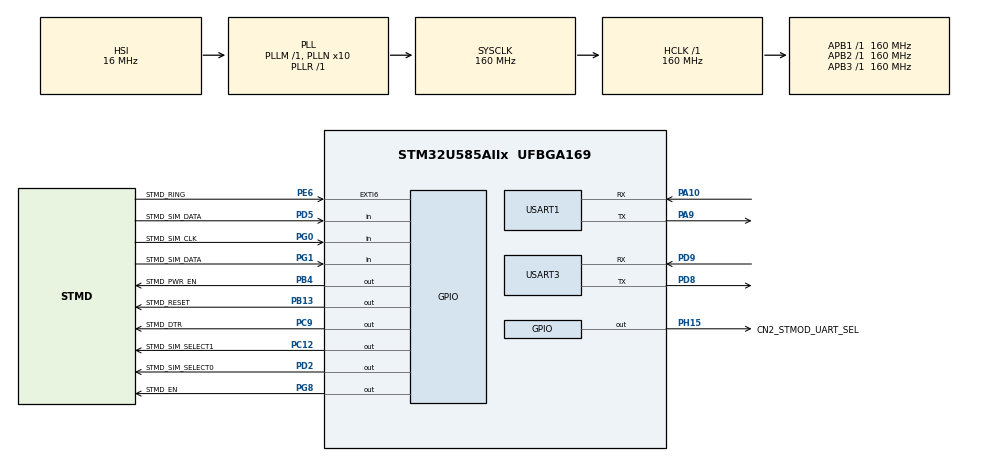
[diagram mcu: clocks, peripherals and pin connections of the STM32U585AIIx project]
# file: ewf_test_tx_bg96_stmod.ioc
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CORTEX_M33_NS.userName=CORTEX_M33
Mcu.Family=STM32U5
Mcu.Name=STM32U585AIIx
Mcu.Package=UFBGA169
NVIC.EXTI6_IRQn=true\:5\:0\:true\:false\:true\:false\:true\:true\:true
NVIC.PriorityGroup=NVIC_PRIORITYGROUP_4
NVIC.TIM3_IRQn=true\:15\:0\:false\:false\:true\:false\:false\:true\:true
NVIC.TimeBase=TIM3_IRQn
NVIC.TimeBaseIP=TIM3
NVIC.USART1_IRQn=true\:0\:0\:false\:false\:true\:false\:true\:true\:true
NVIC.USART3_IRQn=true\:0\:0\:false\:false\:true\:false\:true\:true\:true
PA10.Mode=Asynchronous
PA10.Signal=USART1_RX
PA13\ (JTMS/SWDIO).Mode=Trace_Asynchronous_SW
PA13\ (JTMS/SWDIO).Signal=DEBUG_JTMS-SWDIO
PA14\ (JTCK/SWCLK).Mode=Trace_Asynchronous_SW
PA14\ (JTCK/SWCLK).Signal=DEBUG_JTCK-SWCLK
PA9.Mode=Asynchronous
PA9.Signal=USART1_TX
PB13.GPIO_Label=STMD_RESET
PB13.PinState=GPIO_PIN_SET
PB13.Signal=GPIO_Output
PB3\ (JTDO/TRACESWO).Mode=Trace_Asynchronous_SW
PB3\ (JTDO/TRACESWO).Signal=DEBUG_JTDO-SWO
PB4\ (NJTRST).GPIO_Label=STMD_PWR_EN
PB4\ (NJTRST).PinState=GPIO_PIN_SET
PB4\ (NJTRST).Signal=GPIO_Output
PC12.GPIO_Label=STMD_SIM_SELECT1
PC12.Signal=GPIO_Output
PC9.GPIO_Label=STMD_DTR
PC9.Signal=GPIO_Output
PD11.Signal=USART3_CTS
PD12.Signal=USART3_RTS
PD2.GPIO_Label=STMD_SIM_SELECT0
PD2.Signal=GPIO_Output
PD5.GPIO_Label=STMD_SIM_DATA
PD5.Signal=GPIO_Input
PD8.Mode=Asynchronous
PD8.Signal=USART3_TX
PD9.Mode=Asynchronous
PD9.Signal=USART3_RX
PE6.GPIO_Label=STMD_RING
PE6.Signal=GPXTI6
PG0.GPIO_Label=STMD_SIM_CLK
PG0.Signal=GPIO_Input
PG1.GPIO_Label=STMD_SIM_DATA
PG1.Signal=GPIO_Input
PG8.GPIO_Label=STMD_EN
PG8.Signal=GPIO_Output
PH15.GPIO_Label=CN2_STMOD_UART_SEL
PH15.PinState=GPIO_PIN_SET
PH15.Signal=GPIO_Output
PWR.PowerMode=PWR_SMPS_SUPPLY
ProjectManager.HeapSize=0x200
ProjectManager.StackSize=0x400
ProjectManager.TargetToolchain=STM32CubeIDE
RCC.ADCFreq_Value=16000000
RCC.AHBFreq_Value=160000000
RCC.APB1Freq_Value=160000000
RCC.APB1TimFreq_Value=160000000
RCC.APB2Freq_Value=160000000
RCC.APB2TimFreq_Value=160000000
RCC.APB3Freq_Value=160000000
RCC.CortexFreq_Value=160000000
RCC.DACCLockSelectionVirtual=RCC_DAC1CLKSOURCE_LSI
RCC.EPOD_VALUE=16000000
RCC.HCLKFreq_Value=160000000
RCC.HSE_VALUE=16000000
RCC.HSI48_VALUE=48000000
RCC.HSI_VALUE=16000000
RCC.LSE_VALUE=32768
RCC.LSIDIV_VALUE=32000
RCC.MSIClockRange=RCC_MSIRANGE_0
RCC.MSI_VALUE=48000000
RCC.PLL1R=1
RCC.PLLN=10
RCC.PLLSourceVirtual=RCC_PLLSOURCE_HSI
RCC.SPI2CLockSelection=RCC_SPI2CLKSOURCE_PCLK1
RCC.SYSCLKFreq_VALUE=160000000
RCC.SYSCLKSource=RCC_SYSCLKSOURCE_PLLCLK
RCC.USBFreq_Value=48000000
RCC.VCOOutputFreq_Value=160000000
THREADX.AZRTOS_APP_MEM_ALLOCATION_METHOD=1
THREADX.TX_APP_MEM_POOL_SIZE=(512*1)
USART1.VirtualMode-Asynchronous=VM_ASYNC
USART3.VirtualMode-Asynchronous=VM_ASYNC
VP_ICACHE_VS_ICACHE.Mode=DirectMappedCache
VP_LPBAMQUEUE_VS_QUEUE.Mode=QUEUEMODE
VP_LPBAM_VS_SIG1.Mode=SmartRun
VP_LPBAM_VS_SIG4.Mode=LPDMA1
VP_MEMORYMAP_VS_MEMORYMAP.Mode=CurAppReg
VP_PWR_VS_DBSignals.Mode=DisableDeadBatterySignals
VP_PWR_VS_LPOM.Mode=PowerOptimisation
VP_PWR_VS_SECSignals.Mode=Security/Privilege
VP_SYS_VS_tim3.Mode=TIM3
VP_THREADX_VS_RTOSJjThreadXJjCoreJjDefault.Mode=Core_Default
board=custom

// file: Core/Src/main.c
/* USER CODE BEGIN Header */
/**
  ******************************************************************************
  * @file           : main.c
  * @brief          : Main program body
  ******************************************************************************
  * @attention
  *
  * Copyright (c) 2022 STMicroelectronics.
  * All rights reserved.
  *
  * This software is licensed under terms that can be found in the LICENSE file
  * in the root directory of this software component.
  * If no LICENSE file comes with this software, it is provided AS-IS.
  *
  ******************************************************************************
  */
/* USER CODE END Header */
#include "app_threadx.h"
#include "main.h"

/* USER CODE BEGIN Includes */

#include <stdlib.h>

#include "stm32u5xx_hal.h"
#include "stm32u5xx_ll_bus.h"
#include "stm32u5xx_ll_rcc.h"
#include "stm32u5xx_ll_system.h"
#include "stm32u5xx_ll_utils.h"
#include "stm32u5xx_ll_pwr.h"
#include "stm32u5xx_ll_exti.h"
#include "stm32u5xx_ll_gpio.h"
#include "stm32u5xx_ll_usart.h"

#define QUECTEL_BG96 		1
#define RENESAS_RYZ024A 	2
#define SIERRA_HL78XX       3

#define MODEM_TYPE SIERRA_HL78XX

#include "ewf_lib.c"
#include "ewf_platform_threadx.c"
#include "ewf_allocator.c"
#include "ewf_allocator_threadx.c"
#include "ewf_tokenizer.c"
#include "ewf_tokenizer_basic.c"
#include "ewf_interface.c"
#include "ewf_interface_stm32_uart.c"
#include "ewf_adapter.c"
#include "ewf_adapter_api_control.c"
#include "ewf_adapter_api_info.c"
#include "ewf_adapter_api_tls_basic.c"
#include "ewf_adapter_api_mqtt_basic.c"
#include "ewf_adapter_api_tcp.c"
#include "ewf_adapter_api_udp.c"
#include "ewf_adapter_api_modem.c"
#include "ewf_adapter_api_modem_general.c"
#include "ewf_adapter_api_modem_network_service.c"
#include "ewf_adapter_api_modem_packet_domain.c"
#include "ewf_adapter_api_modem_sim_utility.c"
#include "ewf_adapter_api_modem_sms.c"
#if(MODEM_TYPE == QUECTEL_BG96)
# include "ewf_adapter_quectel_bg96.c"
# include "ewf_adapter_quectel_common_tokenizer.c"
# include "ewf_adapter_quectel_common_urc.c"
# include "ewf_adapter_quectel_common_control.c"
# include "ewf_adapter_quectel_common_context.c"
# include "ewf_adapter_quectel_common_info.c"
# include "ewf_adapter_quectel_common_internet.c"
# include "ewf_adapter_quectel_common_ufs.c"
# include "ewf_adapter_quectel_common_mqtt_basic.c"
# include "ewf_adapter_quectel_common_tls_basic.c"
# include "test/ewf_adapter_quectel_bg96_test.c"
#endif

#if(MODEM_TYPE == RENESAS_RYZ024A)
# include "ewf_adapter_renesas_ryz024a.c"
# include "ewf_adapter_renesas_common_tokenizer.c"
# include "ewf_adapter_renesas_common_urc.c"
# include "ewf_adapter_renesas_common_control.c"
//# include "ewf_adapter_renesas_common_context.c"
# include "ewf_adapter_renesas_common_info.c"
# include "ewf_adapter_renesas_common_internet.c"
//# include "ewf_adapter_renesas_common_ufs.c"
# include "ewf_adapter_renesas_common_mqtt_basic.c"
# include "ewf_adapter_renesas_common_tls_basic.c"
#endif

#if(MODEM_TYPE == SIERRA_HL78XX)
# include "ewf_adapter_sierra_hl78xx.c"
# include "ewf_adapter_sierra_common_tokenizer.c"
# include "ewf_adapter_sierra_common_urc.c"
# include "ewf_adapter_sierra_common_control.c"
//# include "ewf_adapter_renesas_common_context.c"
# include "ewf_adapter_sierra_common_info.c"
# include "ewf_adapter_sierra_common_internet.c"
//# include "ewf_adapter_renesas_common_ufs.c"
# include "ewf_adapter_sierra_common_mqtt_basic.c"
# include "ewf_adapter_sierra_common_tls_basic.c"

#endif

#include "ewf_example.config.h"

/* USER CODE END Includes */

/* USER CODE BEGIN PTD */
#if defined ( __GNUC__) && !defined(__clang__)
/* With GCC, small printf (option LD Linker->Libraries->Small printf
   set to 'Yes') calls __io_putchar() */
#define PUTCHAR_PROTOTYPE int __io_putchar(int ch)
#else
#define PUTCHAR_PROTOTYPE int fputc(int ch, FILE *f)
#endif /* __GNUC__ */

/* USER CODE END PTD */

UART_HandleTypeDef huart1;
UART_HandleTypeDef huart3;

void SystemClock_Config(void);
static void SystemPower_Config(void);
static void MX_GPIO_Init(void);
static void MX_ICACHE_Init(void);
static void MX_USART3_UART_Init(void);
static void MX_USART1_UART_Init(void);

/* USER CODE BEGIN 0 */

/* Define the thread for running Azure SDK on ThreadX (THREADX IoT Platform).  */
#ifndef SAMPLE_STACK_SIZE
#define SAMPLE_STACK_SIZE      (2048)
#endif /* SAMPLE_STACK_SIZE  */

#ifndef SAMPLE_THREAD_PRIORITY
#define SAMPLE_THREAD_PRIORITY (4)
#endif /* SAMPLE_THREAD_PRIORITY  */

/* The thread control block  */
static TX_THREAD  sample_thread;

/* Define the thread stack.  */
static ULONG sample_thread_stack[SAMPLE_STACK_SIZE / sizeof(ULONG)];

/* The EWF NetX Duo PPP test.  */
ewf_result ewf_example_netx_duo_ppp_test(ewf_adapter* adapter_ptr);

void ewf_quectel_bg96_power_on()
{
	/* Reference: Quectel BG96 Hardware Design V1.4 */
	HAL_GPIO_WritePin(STMD_RESET_GPIO_Port, STMD_RESET_Pin, GPIO_PIN_SET); // bahmed GPIO_PIN_RESET
	HAL_GPIO_WritePin(STMD_PWR_EN_GPIO_Port, STMD_PWR_EN_Pin, GPIO_PIN_RESET);
	HAL_GPIO_WritePin(STMD_DTR_GPIO_Port, STMD_DTR_Pin, GPIO_PIN_RESET);

	/* Turn OFF the module, in case of error in previous power cycle
	 * Set the STMD_PWR_EN_Pin to at least 650ms */
	HAL_GPIO_WritePin(STMD_PWR_EN_GPIO_Port, STMD_PWR_EN_Pin, GPIO_PIN_SET);
	tx_thread_sleep(70U);
	HAL_GPIO_WritePin(STMD_PWR_EN_GPIO_Port, STMD_PWR_EN_Pin, GPIO_PIN_RESET);
	tx_thread_sleep(100U);

	/* Power ON sequence */
	/* Set STMD_PWR_EN_Pin to 1 (initial state) */
	HAL_GPIO_WritePin(STMD_PWR_EN_GPIO_Port, STMD_PWR_EN_Pin, GPIO_PIN_SET);
	tx_thread_sleep(5);

	/* Set STMD_PWR_EN_Pin to 0 during at least 30ms */
	HAL_GPIO_WritePin(STMD_PWR_EN_GPIO_Port, STMD_PWR_EN_Pin, GPIO_PIN_RESET);
	tx_thread_sleep(4);

	/* Set STMD_PWR_EN_Pin to 1 during at least 500ms */
	HAL_GPIO_WritePin(STMD_PWR_EN_GPIO_Port, STMD_PWR_EN_Pin, GPIO_PIN_SET);
	tx_thread_sleep(65U);

	/* Set STMD_PWR_EN_Pin to 0 */
	HAL_GPIO_WritePin(STMD_PWR_EN_GPIO_Port, STMD_PWR_EN_Pin, GPIO_PIN_RESET);

	HAL_GPIO_WritePin(STMD_EN_GPIO_Port, STMD_EN_Pin, GPIO_PIN_SET);

	/* wait for the modem to be in ready state  */
	printf("Waiting for the modem to be ready after power ON\n");
	tx_thread_sleep(TX_TIMER_TICKS_PER_SECOND * 10);
	printf("Modem Ready!!!\n");

	/* set DTR to 1 */
	HAL_GPIO_WritePin(STMD_DTR_GPIO_Port, STMD_DTR_Pin, GPIO_PIN_SET);

	/* Initialize UART3 */
	MX_USART3_UART_Init();
}

void sample_thread_entry(ULONG parameter)
{
    ewf_result result;

    ewf_allocator* message_allocator_ptr = NULL;
    ewf_interface* interface_ptr = NULL;
    ewf_adapter* adapter_ptr = NULL;

    EWF_ALLOCATOR_THREADX_STATIC_DECLARE(message_allocator_ptr, message_allocator,
        EWF_CONFIG_MESSAGE_ALLOCATOR_BLOCK_COUNT,
        EWF_CONFIG_MESSAGE_ALLOCATOR_BLOCK_SIZE);

    EWF_ALLOCATOR_THREADX_STATIC_DECLARE(message_allocator_ptr, message_allocator,
        EWF_CONFIG_MESSAGE_ALLOCATOR_BLOCK_COUNT,
        EWF_CONFIG_MESSAGE_ALLOCATOR_BLOCK_SIZE);
    EWF_INTERFACE_STM32_UART_STATIC_DECLARE(interface_ptr, stm32_uart_port, &huart3);
#if(MODEM_TYPE == RENESAS_RYZ024A)
    EWF_ADAPTER_RENESAS_RYZ024A_STATIC_DECLARE(adapter_ptr, renesas_ryz024a, message_allocator_ptr, NULL, interface_ptr);
#endif

#if(MODEM_TYPE == SIERRA_HL78XX)
    EWF_ADAPTER_SIERRA_HL78XX_STATIC_DECLARE(adapter_ptr, sierra_hl78xx, message_allocator_ptr, NULL, interface_ptr);
#endif

	/* Power on the STMOD+ BG96 modem */
    ewf_quectel_bg96_power_on();

    // Start the adapter
    if (ewf_result_failed(result = ewf_adapter_start(adapter_ptr)))
    {
        EWF_LOG_ERROR("Failed to start the adapter, ewf_result %d.\n", result);
        exit(result);
    }
    else
    {
        EWF_LOG("Adapter Start.\n");
    }

    for(int i=0; i <20; i++)
    {
		// Set the ME functionality to minimum to clear out any previous connections
		if (ewf_result_failed(result = ewf_adapter_modem_functionality_set(adapter_ptr, EWF_ADAPTER_MODEM_FUNCTIONALITY_MINIMUM)))
		{
			EWF_LOG("[Warning][Failed to the ME functionality]\n");
		}
		else
		{
			EWF_LOG("Modem functionality set to EWF_ADAPTER_MODEM_FUNCTIONALITY_MINIMUM\n");
		}

		// Set the APN
		/*
		if (ewf_result_failed(result = ewf_adapter_modem_pdp_apn_set(adapter_ptr, EWF_CONFIG_CONTEXT_ID, EWF_ADAPTER_MODEM_PDP_TYPE_IP, EWF_CONFIG_SIM_APN)))
		{
			EWF_LOG_ERROR("Failed to the set APN, ewf_result %d.\n", result);
			exit(result);
		}
		else
		{
			EWF_LOG("APN Set to %s\n", EWF_CONFIG_SIM_APN);
		}*/

		// Set the ME functionality
		if (ewf_result_failed(result = ewf_adapter_modem_functionality_set(adapter_ptr, EWF_ADAPTER_MODEM_FUNCTIONALITY_FULL)))
		{
			EWF_LOG_ERROR("Failed to the ME functionality, ewf_result %d.\n", result);
			return;
		}
		else
		{
			EWF_LOG("Modem functionality set to EWF_ADAPTER_MODEM_FUNCTIONALITY_FULL\n");
		}

		/* Wait time for modem to be ready after modem is registered to network */
		ewf_platform_sleep(200);

		// Set the SIM PIN
		if (0) //ewf_result_failed(result = ewf_adapter_modem_sim_pin_enter(adapter_ptr, EWF_CONFIG_SIM_PIN))) bahmed
		{
			EWF_LOG_ERROR("Failed to the SIM PIN, ewf_result %d.\n", result);
			exit(result);
		}
		else
		{
			EWF_LOG("SIM PIN Set.\n");
		}

		if (ewf_result_failed(result = ewf_adapter_modem_network_registration_check(adapter_ptr, EWF_ADAPTER_MODEM_CMD_QUERY_EPS_NETWORK_REG, 1000)))
		{
			EWF_LOG("[ERROR][Failed to register to network.]\n");
			return;
		}
		else
		{
			EWF_LOG("Registered to network.\n");
		}

		// Call the NetX Duo test example
		if (ewf_result_failed(result = ewf_example_netx_duo_ppp_test(adapter_ptr)))
		{
			EWF_LOG_ERROR("The NetX Duo test example failed, ewf_result %d.\n", result);
			exit(result);
		}
			else
		{
			EWF_LOG("The NetX Duo test example passed.\n");
		}
		ewf_platform_sleep(EWF_PLATFORM_TICKS_PER_SECOND*10);
    }

    EWF_LOG("\nDone!\n");

    /* Stay here forever.  */
    while (1)
    {
        EWF_LOG(".");
        ewf_platform_sleep(EWF_PLATFORM_TICKS_PER_SECOND);
    }
}

void thread_sample_entry(ULONG thread_input)
{
#if(MODEM_TYPE == QUECTEL_BG96)
    ewf_result result;

    ewf_allocator* message_allocator_ptr = NULL;
    ewf_interface* interface_ptr = NULL;
    ewf_adapter* adapter_ptr = NULL;

    EWF_ALLOCATOR_THREADX_STATIC_DECLARE(message_allocator_ptr, message_allocator,
        EWF_CONFIG_MESSAGE_ALLOCATOR_BLOCK_COUNT,
        EWF_CONFIG_MESSAGE_ALLOCATOR_BLOCK_SIZE);
    EWF_INTERFACE_STM32_UART_STATIC_DECLARE(interface_ptr, stm32_uart_port, &huart3);
    EWF_ADAPTER_QUECTEL_BG96_STATIC_DECLARE(adapter_ptr, quectel_bg96, message_allocator_ptr, NULL, interface_ptr);

	/* Power on the STMOD+ BG96 modem */
    ewf_quectel_bg96_power_on();

    /* Start the adapter.  */
    if (ewf_result_failed(result = ewf_adapter_start(adapter_ptr)))
    {
        EWF_LOG_ERROR("Failed to start the adapter, ewf_result %d.\n", result);
        exit(result);
    }

    // Set the SIM PIN
    if (ewf_result_failed(result = ewf_adapter_modem_sim_pin_enter(adapter_ptr, EWF_CONFIG_SIM_PIN)))
    {
        EWF_LOG_ERROR("Failed to the SIM PIN, ewf_result %d.\n", result);
        exit(result);
    }

    // Set the ME functionality
    if (ewf_result_failed(result = ewf_adapter_modem_functionality_set(adapter_ptr, "1")))
    {
        EWF_LOG_ERROR("Failed to the ME functionality, ewf_result %d.\n", result);
        exit(result);
    }

    /* Run the adapter tests.  */
    if (ewf_result_failed(result = ewf_adapter_quectel_bg96_test(adapter_ptr)))
    {
        EWF_LOG_ERROR("Failed to run the adapter test, ewf_result %d.\n", result);
        exit(result);
    }

    EWF_LOG("\nDone!\n");

    /* Stay here forever.  */
    while (1)
    {
        EWF_LOG(".");
        tx_thread_sleep(TX_TIMER_TICKS_PER_SECOND);
    }
#endif

#if((MODEM_TYPE == RENESAS_RYZ024A) || (MODEM_TYPE == SIERRA_HL78XX))
	sample_thread_entry(thread_input);
	return;
#endif

}

/* USER CODE END 0 */

int main(void)
{

  /* MCU Configuration--------------------------------------------------------*/

  /* Reset of all peripherals, Initializes the Flash interface and the Systick. */
  HAL_Init();

  /* Configure the system clock */
  SystemClock_Config();

  /* Configure the System Power */
  SystemPower_Config();

  /* Initialize all configured peripherals */
  MX_GPIO_Init();
  MX_ICACHE_Init();
  MX_USART1_UART_Init();

  MX_ThreadX_Init();

  /* We should never get here as control is now taken by the scheduler */

  /* Infinite loop */
  while (1)
  {

  }
}

void SystemClock_Config(void)
{
  RCC_OscInitTypeDef RCC_OscInitStruct = {0};
  RCC_ClkInitTypeDef RCC_ClkInitStruct = {0};

  /** Configure the main internal regulator output voltage
  */
  if (HAL_PWREx_ControlVoltageScaling(PWR_REGULATOR_VOLTAGE_SCALE1) != HAL_OK)
  {
    Error_Handler();
  }

  /** Initializes the CPU, AHB and APB buses clocks
  */
  RCC_OscInitStruct.OscillatorType = RCC_OSCILLATORTYPE_HSI;
  RCC_OscInitStruct.HSIState = RCC_HSI_ON;
  RCC_OscInitStruct.HSICalibrationValue = RCC_HSICALIBRATION_DEFAULT;
  RCC_OscInitStruct.PLL.PLLState = RCC_PLL_ON;
  RCC_OscInitStruct.PLL.PLLSource = RCC_PLLSOURCE_HSI;
  RCC_OscInitStruct.PLL.PLLMBOOST = RCC_PLLMBOOST_DIV1;
  RCC_OscInitStruct.PLL.PLLM = 1;
  RCC_OscInitStruct.PLL.PLLN = 10;
  RCC_OscInitStruct.PLL.PLLP = 2;
  RCC_OscInitStruct.PLL.PLLQ = 2;
  RCC_OscInitStruct.PLL.PLLR = 1;
  RCC_OscInitStruct.PLL.PLLRGE = RCC_PLLVCIRANGE_1;
  RCC_OscInitStruct.PLL.PLLFRACN = 0;
  if (HAL_RCC_OscConfig(&RCC_OscInitStruct) != HAL_OK)
  {
    Error_Handler();
  }

  /** Initializes the CPU, AHB and APB buses clocks
  */
  RCC_ClkInitStruct.ClockType = RCC_CLOCKTYPE_HCLK|RCC_CLOCKTYPE_SYSCLK
                              |RCC_CLOCKTYPE_PCLK1|RCC_CLOCKTYPE_PCLK2
                              |RCC_CLOCKTYPE_PCLK3;
  RCC_ClkInitStruct.SYSCLKSource = RCC_SYSCLKSOURCE_PLLCLK;
  RCC_ClkInitStruct.AHBCLKDivider = RCC_SYSCLK_DIV1;
  RCC_ClkInitStruct.APB1CLKDivider = RCC_HCLK_DIV1;
  RCC_ClkInitStruct.APB2CLKDivider = RCC_HCLK_DIV1;
  RCC_ClkInitStruct.APB3CLKDivider = RCC_HCLK_DIV1;

  if (HAL_RCC_ClockConfig(&RCC_ClkInitStruct, FLASH_LATENCY_4) != HAL_OK)
  {
    Error_Handler();
  }
}

/**
  * @brief Power Configuration
  * @retval None
  */
static void SystemPower_Config(void)
{
  HAL_PWREx_EnableVddIO2();

  /*
   * Disable the internal Pull-Up in Dead Battery pins of UCPD peripheral
   */
  HAL_PWREx_DisableUCPDDeadBattery();
}

static void MX_ICACHE_Init(void)
{

  /** Enable instruction cache in 1-way (direct mapped cache)
  */
  if (HAL_ICACHE_ConfigAssociativityMode(ICACHE_1WAY) != HAL_OK)
  {
    Error_Handler();
  }
  if (HAL_ICACHE_Enable() != HAL_OK)
  {
    Error_Handler();
  }

}

static void MX_USART1_UART_Init(void)
{

  huart1.Instance = USART1;
  huart1.Init.BaudRate = 115200;
  huart1.Init.WordLength = UART_WORDLENGTH_8B;
  huart1.Init.StopBits = UART_STOPBITS_1;
  huart1.Init.Parity = UART_PARITY_NONE;
  huart1.Init.Mode = UART_MODE_TX_RX;
  huart1.Init.HwFlowCtl = UART_HWCONTROL_NONE;
  huart1.Init.OverSampling = UART_OVERSAMPLING_16;
  huart1.Init.OneBitSampling = UART_ONE_BIT_SAMPLE_DISABLE;
  huart1.Init.ClockPrescaler = UART_PRESCALER_DIV1;
  huart1.AdvancedInit.AdvFeatureInit = UART_ADVFEATURE_NO_INIT;
  if (HAL_UART_Init(&huart1) != HAL_OK)
  {
    Error_Handler();
  }
  if (HAL_UARTEx_SetTxFifoThreshold(&huart1, UART_TXFIFO_THRESHOLD_1_8) != HAL_OK)
  {
    Error_Handler();
  }
  if (HAL_UARTEx_SetRxFifoThreshold(&huart1, UART_RXFIFO_THRESHOLD_1_8) != HAL_OK)
  {
    Error_Handler();
  }
  if (HAL_UARTEx_DisableFifoMode(&huart1) != HAL_OK)
  {
    Error_Handler();
  }

}

static void MX_USART3_UART_Init(void)
{

  huart3.Instance = USART3;
  huart3.Init.BaudRate = 115200;
  huart3.Init.WordLength = UART_WORDLENGTH_8B;
  huart3.Init.StopBits = UART_STOPBITS_1;
  huart3.Init.Parity = UART_PARITY_NONE;
  huart3.Init.Mode = UART_MODE_TX_RX;
  huart3.Init.HwFlowCtl = UART_HWCONTROL_NONE;
  huart3.Init.OverSampling = UART_OVERSAMPLING_16;
  huart3.Init.OneBitSampling = UART_ONE_BIT_SAMPLE_DISABLE;
  huart3.Init.ClockPrescaler = UART_PRESCALER_DIV1;
  huart3.AdvancedInit.AdvFeatureInit = UART_ADVFEATURE_NO_INIT;
  if (HAL_UART_Init(&huart3) != HAL_OK)
  {
    Error_Handler();
  }
  if (HAL_UARTEx_SetTxFifoThreshold(&huart3, UART_TXFIFO_THRESHOLD_1_8) != HAL_OK)
  {
    Error_Handler();
  }
  if (HAL_UARTEx_SetRxFifoThreshold(&huart3, UART_RXFIFO_THRESHOLD_1_8) != HAL_OK)
  {
    Error_Handler();
  }
  if (HAL_UARTEx_DisableFifoMode(&huart3) != HAL_OK)
  {
    Error_Handler();
  }

}

static void MX_GPIO_Init(void)
{
  GPIO_InitTypeDef GPIO_InitStruct = {0};

  /* GPIO Ports Clock Enable */
  __HAL_RCC_GPIOH_CLK_ENABLE();
  __HAL_RCC_GPIOB_CLK_ENABLE();
  __HAL_RCC_GPIOA_CLK_ENABLE();
  __HAL_RCC_GPIOE_CLK_ENABLE();
  __HAL_RCC_GPIOD_CLK_ENABLE();
  __HAL_RCC_GPIOC_CLK_ENABLE();
  __HAL_RCC_GPIOG_CLK_ENABLE();

  /*Configure GPIO pin Output Level */
  HAL_GPIO_WritePin(CN2_STMOD_UART_SEL_GPIO_Port, CN2_STMOD_UART_SEL_Pin, GPIO_PIN_SET);

  /*Configure GPIO pin Output Level */
  HAL_GPIO_WritePin(GPIOB, STMD_PWR_EN_Pin|STMD_RESET_Pin, GPIO_PIN_SET);

  /*Configure GPIO pin Output Level */
  HAL_GPIO_WritePin(GPIOC, STMD_SIM_SELECT1_Pin|STMD_DTR_Pin, GPIO_PIN_RESET);

  /*Configure GPIO pin Output Level */
  HAL_GPIO_WritePin(STMD_SIM_SELECT0_GPIO_Port, STMD_SIM_SELECT0_Pin, GPIO_PIN_RESET);

  /*Configure GPIO pin Output Level */
  HAL_GPIO_WritePin(STMD_EN_GPIO_Port, STMD_EN_Pin, GPIO_PIN_RESET);

  /*Configure GPIO pin : CN2_STMOD_UART_SEL_Pin */
  GPIO_InitStruct.Pin = CN2_STMOD_UART_SEL_Pin;
  GPIO_InitStruct.Mode = GPIO_MODE_OUTPUT_PP;
  GPIO_InitStruct.Pull = GPIO_NOPULL;
  GPIO_InitStruct.Speed = GPIO_SPEED_FREQ_LOW;
  HAL_GPIO_Init(CN2_STMOD_UART_SEL_GPIO_Port, &GPIO_InitStruct);

  /*Configure GPIO pins : STMD_PWR_EN_Pin STMD_RESET_Pin */
  GPIO_InitStruct.Pin = STMD_PWR_EN_Pin|STMD_RESET_Pin;
  GPIO_InitStruct.Mode = GPIO_MODE_OUTPUT_PP;
  GPIO_InitStruct.Pull = GPIO_NOPULL;
  GPIO_InitStruct.Speed = GPIO_SPEED_FREQ_LOW;
  HAL_GPIO_Init(GPIOB, &GPIO_InitStruct);

  /*Configure GPIO pin : STMD_RING_Pin */
  GPIO_InitStruct.Pin = STMD_RING_Pin;
  GPIO_InitStruct.Mode = GPIO_MODE_IT_RISING;
  GPIO_InitStruct.Pull = GPIO_NOPULL;
  HAL_GPIO_Init(STMD_RING_GPIO_Port, &GPIO_InitStruct);

  /*Configure GPIO pin : STMD_SIM_DATA_Pin */
  GPIO_InitStruct.Pin = STMD_SIM_DATA_Pin;
  GPIO_InitStruct.Mode = GPIO_MODE_INPUT;
  GPIO_InitStruct.Pull = GPIO_NOPULL;
  HAL_GPIO_Init(STMD_SIM_DATA_GPIO_Port, &GPIO_InitStruct);

  /*Configure GPIO pins : STMD_SIM_SELECT1_Pin STMD_DTR_Pin */
  GPIO_InitStruct.Pin = STMD_SIM_SELECT1_Pin|STMD_DTR_Pin;
  GPIO_InitStruct.Mode = GPIO_MODE_OUTPUT_PP;
  GPIO_InitStruct.Pull = GPIO_NOPULL;
  GPIO_InitStruct.Speed = GPIO_SPEED_FREQ_LOW;
  HAL_GPIO_Init(GPIOC, &GPIO_InitStruct);

  /*Configure GPIO pin : STMD_SIM_SELECT0_Pin */
  GPIO_InitStruct.Pin = STMD_SIM_SELECT0_Pin;
  GPIO_InitStruct.Mode = GPIO_MODE_OUTPUT_PP;
  GPIO_InitStruct.Pull = GPIO_NOPULL;
  GPIO_InitStruct.Speed = GPIO_SPEED_FREQ_LOW;
  HAL_GPIO_Init(STMD_SIM_SELECT0_GPIO_Port, &GPIO_InitStruct);

  /*Configure GPIO pins : STMD_SIM_DATAG1_Pin STMD_SIM_CLK_Pin */
  GPIO_InitStruct.Pin = STMD_SIM_DATAG1_Pin|STMD_SIM_CLK_Pin;
  GPIO_InitStruct.Mode = GPIO_MODE_INPUT;
  GPIO_InitStruct.Pull = GPIO_NOPULL;
  HAL_GPIO_Init(GPIOG, &GPIO_InitStruct);

  /*Configure GPIO pin : STMD_EN_Pin */
  GPIO_InitStruct.Pin = STMD_EN_Pin;
  GPIO_InitStruct.Mode = GPIO_MODE_OUTPUT_PP;
  GPIO_InitStruct.Pull = GPIO_NOPULL;
  GPIO_InitStruct.Speed = GPIO_SPEED_FREQ_LOW;
  HAL_GPIO_Init(STMD_EN_GPIO_Port, &GPIO_InitStruct);

  /* EXTI interrupt init*/
  HAL_NVIC_SetPriority(EXTI6_IRQn, 5, 0);
  HAL_NVIC_EnableIRQ(EXTI6_IRQn);

}

/* USER CODE BEGIN 4 */
/**
* @brief  Retargets the C library printf function to the USART.
* @param  None
* @retval None
*/

PUTCHAR_PROTOTYPE
{
    /* Place your implementation of fputc here */
    /* e.g. write a character to the USART1 and Loop until the end of transmission */
    //ITM_SendChar(ch);
	uint8_t c = (uint8_t) ch;
	HAL_UART_Transmit(&huart1, &c, 1,100);
    return ch;
}

/* USER CODE END 4 */

void HAL_TIM_PeriodElapsedCallback(TIM_HandleTypeDef *htim)
{
  if (htim->Instance == TIM3) {
    HAL_IncTick();
  }
}

void Error_Handler(void)
{
  __disable_irq();
  while (1)
  {
  }
}
